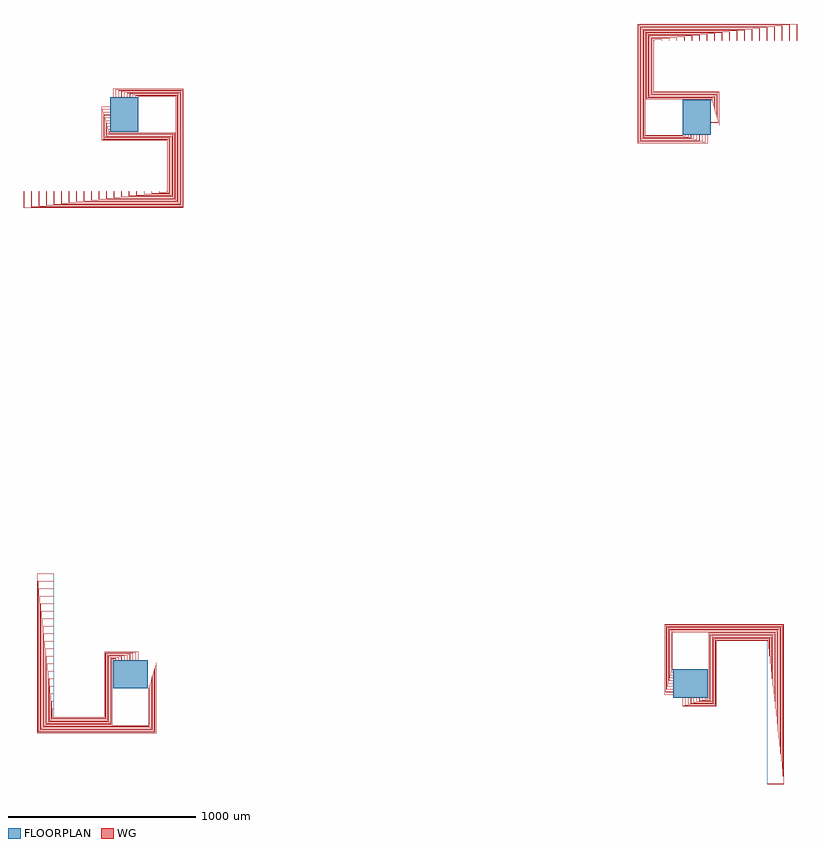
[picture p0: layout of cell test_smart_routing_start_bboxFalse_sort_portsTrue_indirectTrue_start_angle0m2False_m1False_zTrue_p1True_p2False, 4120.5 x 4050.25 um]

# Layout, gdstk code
import gdstk
lib = gdstk.Library(unit=1e-6, precision=1e-09)
def R(c, l, rs):  # rectangles x0, y0, x1, y1
    for r in rs: c.add(gdstk.rectangle(r[:2], r[2:], *l))
def P(c, l, *ps):  # polygons
    for p in ps: c.add(gdstk.Polygon(p, *l))
WG = (1, 0)
FLOORPLAN = (10, 0)

test_smart_routing_start = lib.new_cell('test_smart_routing_start_bboxFalse_sort_portsTrue_indirectTrue_start_angle0m2False_m1False_zTrue_p1True_p2False')
P(test_smart_routing_start, WG, [(3100,2949.75),(3100,2949.95),(3144.8,2949.95),(3144.8,3130.05),(2795.55,3130.05),(2795.55,3404.2),(2799.95,3404.2),(2799.95,3400),(2799.75,3400),(2799.75,3404),(2795.75,3404),(2795.75,3130.25),(3145,3130.25),(3145,2949.75)],
  [(3100,2950.05),(3100,2950.25),(3144.5,2950.25),(3144.5,3129.75),(2795.25,3129.75),(2795.25,3404.5),(2800.25,3404.5),(2800.25,3400),(2800.05,3400),(2800.05,3404.3),(2795.45,3404.3),(2795.45,3129.95),(3144.7,3129.95),(3144.7,2950.05)],
  [(3100,2964.75),(3100,2964.95),(3140.3,2964.95),(3140.3,3125.55),(2791.05,3125.55),(2791.05,3408.7),(2839.95,3408.7),(2839.95,3400),(2839.75,3400),(2839.75,3408.5),(2791.25,3408.5),(2791.25,3125.75),(3140.5,3125.75),(3140.5,2964.75)],
  [(3100,2965.05),(3100,2965.25),(3140,2965.25),(3140,3125.25),(2790.75,3125.25),(2790.75,3409),(2840.25,3409),(2840.25,3400),(2840.05,3400),(2840.05,3408.8),(2790.95,3408.8),(2790.95,3125.45),(3140.2,3125.45),(3140.2,2965.05)],
  [(3100,2979.75),(3100,2979.95),(3135.8,2979.95),(3135.8,3121.05),(2786.55,3121.05),(2786.55,3413.2),(2879.95,3413.2),(2879.95,3400),(2879.75,3400),(2879.75,3413),(2786.75,3413),(2786.75,3121.25),(3136,3121.25),(3136,2979.75)],
  [(3100,2980.05),(3100,2980.25),(3135.5,2980.25),(3135.5,3120.75),(2786.25,3120.75),(2786.25,3413.5),(2880.25,3413.5),(2880.25,3400),(2880.05,3400),(2880.05,3413.3),(2786.45,3413.3),(2786.45,3120.95),(3135.7,3120.95),(3135.7,2980.05)],
  [(3100,2994.75),(3100,2994.95),(3131.3,2994.95),(3131.3,3116.55),(2782.05,3116.55),(2782.05,3417.7),(2919.95,3417.7),(2919.95,3400),(2919.75,3400),(2919.75,3417.5),(2782.25,3417.5),(2782.25,3116.75),(3131.5,3116.75),(3131.5,2994.75)],
  [(3100,2995.05),(3100,2995.25),(3131,2995.25),(3131,3116.25),(2781.75,3116.25),(2781.75,3418),(2920.25,3418),(2920.25,3400),(2920.05,3400),(2920.05,3417.8),(2781.95,3417.8),(2781.95,3116.45),(3131.2,3116.45),(3131.2,2995.05)],
  [(3100,3009.75),(3100,3009.95),(3126.8,3009.95),(3126.8,3112.05),(2777.55,3112.05),(2777.55,3422.2),(2959.95,3422.2),(2959.95,3400),(2959.75,3400),(2959.75,3422),(2777.75,3422),(2777.75,3112.25),(3127,3112.25),(3127,3009.75)],
  [(3100,3010.05),(3100,3010.25),(3126.5,3010.25),(3126.5,3111.75),(2777.25,3111.75),(2777.25,3422.5),(2960.25,3422.5),(2960.25,3400),(2960.05,3400),(2960.05,3422.3),(2777.45,3422.3),(2777.45,3111.95),(3126.7,3111.95),(3126.7,3010.05)],
  [(3100,3024.75),(3100,3024.95),(3122.3,3024.95),(3122.3,3107.55),(2773.05,3107.55),(2773.05,3426.7),(2999.95,3426.7),(2999.95,3400),(2999.75,3400),(2999.75,3426.5),(2773.25,3426.5),(2773.25,3107.75),(3122.5,3107.75),(3122.5,3024.75)],
  [(3100,3025.05),(3100,3025.25),(3122,3025.25),(3122,3107.25),(2772.75,3107.25),(2772.75,3427),(3000.25,3427),(3000.25,3400),(3000.05,3400),(3000.05,3426.8),(2772.95,3426.8),(2772.95,3107.45),(3122.2,3107.45),(3122.2,3025.05)],
  [(3100,3039.75),(3100,3039.95),(3117.8,3039.95),(3117.8,3103.05),(2768.55,3103.05),(2768.55,3431.2),(3039.95,3431.2),(3039.95,3400),(3039.75,3400),(3039.75,3431),(2768.75,3431),(2768.75,3103.25),(3118,3103.25),(3118,3039.75)],
  [(3100,3040.05),(3100,3040.25),(3117.5,3040.25),(3117.5,3102.75),(2768.25,3102.75),(2768.25,3431.5),(3040.25,3431.5),(3040.25,3400),(3040.05,3400),(3040.05,3431.3),(2768.45,3431.3),(2768.45,3102.95),(3117.7,3102.95),(3117.7,3040.05)],
  [(3100,3054.75),(3100,3054.95),(3113.3,3054.95),(3113.3,3098.55),(2764.05,3098.55),(2764.05,3435.7),(3079.95,3435.7),(3079.95,3400),(3079.75,3400),(3079.75,3435.5),(2764.25,3435.5),(2764.25,3098.75),(3113.5,3098.75),(3113.5,3054.75)],
  [(3100,3055.05),(3100,3055.25),(3113,3055.25),(3113,3098.25),(2763.75,3098.25),(2763.75,3436),(3080.25,3436),(3080.25,3400),(3080.05,3400),(3080.05,3435.8),(2763.95,3435.8),(2763.95,3098.45),(3113.2,3098.45),(3113.2,3055.05)],
  [(3100,3069.75),(3100,3069.95),(3108.8,3069.95),(3108.8,3094.05),(2759.55,3094.05),(2759.55,3440.2),(3119.95,3440.2),(3119.95,3400),(3119.75,3400),(3119.75,3440),(2759.75,3440),(2759.75,3094.25),(3109,3094.25),(3109,3069.75)],
  [(3100,3070.05),(3100,3070.25),(3108.5,3070.25),(3108.5,3093.75),(2759.25,3093.75),(2759.25,3440.5),(3120.25,3440.5),(3120.25,3400),(3120.05,3400),(3120.05,3440.3),(2759.45,3440.3),(2759.45,3093.95),(3108.7,3093.95),(3108.7,3070.05)],
  [(3100,3084.75),(3100,3084.95),(3104.3,3084.95),(3104.3,3089.55),(2755.05,3089.55),(2755.05,3444.7),(3159.95,3444.7),(3159.95,3400),(3159.75,3400),(3159.75,3444.5),(2755.25,3444.5),(2755.25,3089.75),(3104.5,3089.75),(3104.5,3084.75)],
  [(3100,3085.05),(3100,3085.25),(3104,3085.25),(3104,3089.25),(2754.75,3089.25),(2754.75,3445),(3160.25,3445),(3160.25,3400),(3160.05,3400),(3160.05,3444.8),(2754.95,3444.8),(2754.95,3089.45),(3104.2,3089.45),(3104.2,3085.05)],
  [(2750.55,2895.8),(2750.55,3449.2),(3199.95,3449.2),(3199.95,3400),(3199.75,3400),(3199.75,3449),(2750.75,3449),(2750.75,2896),(2949.75,2896),(2949.75,2900),(2949.95,2900),(2949.95,2895.8)],
  [(2750.25,2895.5),(2750.25,3449.5),(3200.25,3449.5),(3200.25,3400),(3200.05,3400),(3200.05,3449.3),(2750.45,3449.3),(2750.45,2895.7),(2950.05,2895.7),(2950.05,2900),(2950.25,2900),(2950.25,2895.5)],
  [(2746.05,2891.3),(2746.05,3453.7),(3239.95,3453.7),(3239.95,3400),(3239.75,3400),(3239.75,3453.5),(2746.25,3453.5),(2746.25,2891.5),(2964.75,2891.5),(2964.75,2900),(2964.95,2900),(2964.95,2891.3)],
  [(2745.75,2891),(2745.75,3454),(3240.25,3454),(3240.25,3400),(3240.05,3400),(3240.05,3453.8),(2745.95,3453.8),(2745.95,2891.2),(2965.05,2891.2),(2965.05,2900),(2965.25,2900),(2965.25,2891)],
  [(2741.55,2886.8),(2741.55,3458.2),(3279.95,3458.2),(3279.95,3400),(3279.75,3400),(3279.75,3458),(2741.75,3458),(2741.75,2887),(2979.75,2887),(2979.75,2900),(2979.95,2900),(2979.95,2886.8)],
  [(2741.25,2886.5),(2741.25,3458.5),(3280.25,3458.5),(3280.25,3400),(3280.05,3400),(3280.05,3458.3),(2741.45,3458.3),(2741.45,2886.7),(2980.05,2886.7),(2980.05,2900),(2980.25,2900),(2980.25,2886.5)],
  [(2737.05,2882.3),(2737.05,3462.7),(3319.95,3462.7),(3319.95,3400),(3319.75,3400),(3319.75,3462.5),(2737.25,3462.5),(2737.25,2882.5),(2994.75,2882.5),(2994.75,2900),(2994.95,2900),(2994.95,2882.3)],
  [(2736.75,2882),(2736.75,3463),(3320.25,3463),(3320.25,3400),(3320.05,3400),(3320.05,3462.8),(2736.95,3462.8),(2736.95,2882.2),(2995.05,2882.2),(2995.05,2900),(2995.25,2900),(2995.25,2882)],
  [(2732.55,2877.8),(2732.55,3467.2),(3359.95,3467.2),(3359.95,3400),(3359.75,3400),(3359.75,3467),(2732.75,3467),(2732.75,2878),(3009.75,2878),(3009.75,2900),(3009.95,2900),(3009.95,2877.8)],
  [(2732.25,2877.5),(2732.25,3467.5),(3360.25,3467.5),(3360.25,3400),(3360.05,3400),(3360.05,3467.3),(2732.45,3467.3),(2732.45,2877.7),(3010.05,2877.7),(3010.05,2900),(3010.25,2900),(3010.25,2877.5)],
  [(2728.05,2873.3),(2728.05,3471.7),(3399.95,3471.7),(3399.95,3400),(3399.75,3400),(3399.75,3471.5),(2728.25,3471.5),(2728.25,2873.5),(3024.75,2873.5),(3024.75,2900),(3024.95,2900),(3024.95,2873.3)],
  [(2727.75,2873),(2727.75,3472),(3400.25,3472),(3400.25,3400),(3400.05,3400),(3400.05,3471.8),(2727.95,3471.8),(2727.95,2873.2),(3025.05,2873.2),(3025.05,2900),(3025.25,2900),(3025.25,2873)],
  [(2723.55,2868.8),(2723.55,3476.2),(3439.95,3476.2),(3439.95,3400),(3439.75,3400),(3439.75,3476),(2723.75,3476),(2723.75,2869),(3039.75,2869),(3039.75,2900),(3039.95,2900),(3039.95,2868.8)],
  [(2723.25,2868.5),(2723.25,3476.5),(3440.25,3476.5),(3440.25,3400),(3440.05,3400),(3440.05,3476.3),(2723.45,3476.3),(2723.45,2868.7),(3040.05,2868.7),(3040.05,2900),(3040.25,2900),(3040.25,2868.5)],
  [(2719.05,2864.3),(2719.05,3480.7),(3479.95,3480.7),(3479.95,3400),(3479.75,3400),(3479.75,3480.5),(2719.25,3480.5),(2719.25,2864.5),(3054.75,2864.5),(3054.75,2900),(3054.95,2900),(3054.95,2864.3)],
  [(2718.75,2864),(2718.75,3481),(3480.25,3481),(3480.25,3400),(3480.05,3400),(3480.05,3480.8),(2718.95,3480.8),(2718.95,2864.2),(3055.05,2864.2),(3055.05,2900),(3055.25,2900),(3055.25,2864)],
  [(2714.55,2859.8),(2714.55,3485.2),(3519.95,3485.2),(3519.95,3400),(3519.75,3400),(3519.75,3485),(2714.75,3485),(2714.75,2860),(3069.75,2860),(3069.75,2900),(3069.95,2900),(3069.95,2859.8)],
  [(2714.25,2859.5),(2714.25,3485.5),(3520.25,3485.5),(3520.25,3400),(3520.05,3400),(3520.05,3485.3),(2714.45,3485.3),(2714.45,2859.7),(3070.05,2859.7),(3070.05,2900),(3070.25,2900),(3070.25,2859.5)],
  [(2710.05,2855.3),(2710.05,3489.7),(3559.95,3489.7),(3559.95,3400),(3559.75,3400),(3559.75,3489.5),(2710.25,3489.5),(2710.25,2855.5),(3084.75,2855.5),(3084.75,2900),(3084.95,2900),(3084.95,2855.3)],
  [(2709.75,2855),(2709.75,3490),(3560.25,3490),(3560.25,3400),(3560.05,3400),(3560.05,3489.8),(2709.95,3489.8),(2709.95,2855.2),(3085.05,2855.2),(3085.05,2900),(3085.25,2900),(3085.25,2855)],
  [(199.75,2595.5),(199.75,2600),(199.95,2600),(199.95,2595.7),(204.55,2595.7),(204.55,2870.05),(-144.7,2870.05),(-144.7,3049.95),(-100,3049.95),(-100,3049.75),(-144.5,3049.75),(-144.5,2870.25),(204.75,2870.25),(204.75,2595.5)],
  [(200.05,2595.8),(200.05,2600),(200.25,2600),(200.25,2596),(204.25,2596),(204.25,2869.75),(-145,2869.75),(-145,3050.25),(-100,3050.25),(-100,3050.05),(-144.8,3050.05),(-144.8,2869.95),(204.45,2869.95),(204.45,2595.8)],
  [(159.75,2591),(159.75,2600),(159.95,2600),(159.95,2591.2),(209.05,2591.2),(209.05,2874.55),(-140.2,2874.55),(-140.2,3034.95),(-100,3034.95),(-100,3034.75),(-140,3034.75),(-140,2874.75),(209.25,2874.75),(209.25,2591)],
  [(160.05,2591.3),(160.05,2600),(160.25,2600),(160.25,2591.5),(208.75,2591.5),(208.75,2874.25),(-140.5,2874.25),(-140.5,3035.25),(-100,3035.25),(-100,3035.05),(-140.3,3035.05),(-140.3,2874.45),(208.95,2874.45),(208.95,2591.3)],
  [(119.75,2586.5),(119.75,2600),(119.95,2600),(119.95,2586.7),(213.55,2586.7),(213.55,2879.05),(-135.7,2879.05),(-135.7,3019.95),(-100,3019.95),(-100,3019.75),(-135.5,3019.75),(-135.5,2879.25),(213.75,2879.25),(213.75,2586.5)],
  [(120.05,2586.8),(120.05,2600),(120.25,2600),(120.25,2587),(213.25,2587),(213.25,2878.75),(-136,2878.75),(-136,3020.25),(-100,3020.25),(-100,3020.05),(-135.8,3020.05),(-135.8,2878.95),(213.45,2878.95),(213.45,2586.8)],
  [(79.75,2582),(79.75,2600),(79.95,2600),(79.95,2582.2),(218.05,2582.2),(218.05,2883.55),(-131.2,2883.55),(-131.2,3004.95),(-100,3004.95),(-100,3004.75),(-131,3004.75),(-131,2883.75),(218.25,2883.75),(218.25,2582)],
  [(80.05,2582.3),(80.05,2600),(80.25,2600),(80.25,2582.5),(217.75,2582.5),(217.75,2883.25),(-131.5,2883.25),(-131.5,3005.25),(-100,3005.25),(-100,3005.05),(-131.3,3005.05),(-131.3,2883.45),(217.95,2883.45),(217.95,2582.3)],
  [(39.75,2577.5),(39.75,2600),(39.95,2600),(39.95,2577.7),(222.55,2577.7),(222.55,2888.05),(-126.7,2888.05),(-126.7,2989.95),(-100,2989.95),(-100,2989.75),(-126.5,2989.75),(-126.5,2888.25),(222.75,2888.25),(222.75,2577.5)],
  [(40.05,2577.8),(40.05,2600),(40.25,2600),(40.25,2578),(222.25,2578),(222.25,2887.75),(-127,2887.75),(-127,2990.25),(-100,2990.25),(-100,2990.05),(-126.8,2990.05),(-126.8,2887.95),(222.45,2887.95),(222.45,2577.8)],
  [(-0.25,2573),(-0.25,2600),(-0.05,2600),(-0.05,2573.2),(227.05,2573.2),(227.05,2892.55),(-122.2,2892.55),(-122.2,2974.95),(-100,2974.95),(-100,2974.75),(-122,2974.75),(-122,2892.75),(227.25,2892.75),(227.25,2573)],
  [(0.05,2573.3),(0.05,2600),(0.25,2600),(0.25,2573.5),(226.75,2573.5),(226.75,2892.25),(-122.5,2892.25),(-122.5,2975.25),(-100,2975.25),(-100,2975.05),(-122.3,2975.05),(-122.3,2892.45),(226.95,2892.45),(226.95,2573.3)],
  [(-40.25,2568.5),(-40.25,2600),(-40.05,2600),(-40.05,2568.7),(231.55,2568.7),(231.55,2897.05),(-117.7,2897.05),(-117.7,2959.95),(-100,2959.95),(-100,2959.75),(-117.5,2959.75),(-117.5,2897.25),(231.75,2897.25),(231.75,2568.5)],
  [(-39.95,2568.8),(-39.95,2600),(-39.75,2600),(-39.75,2569),(231.25,2569),(231.25,2896.75),(-118,2896.75),(-118,2960.25),(-100,2960.25),(-100,2960.05),(-117.8,2960.05),(-117.8,2896.95),(231.45,2896.95),(231.45,2568.8)],
  [(-80.25,2564),(-80.25,2600),(-80.05,2600),(-80.05,2564.2),(236.05,2564.2),(236.05,2901.55),(-113.2,2901.55),(-113.2,2944.95),(-100,2944.95),(-100,2944.75),(-113,2944.75),(-113,2901.75),(236.25,2901.75),(236.25,2564)],
  [(-79.95,2564.3),(-79.95,2600),(-79.75,2600),(-79.75,2564.5),(235.75,2564.5),(235.75,2901.25),(-113.5,2901.25),(-113.5,2945.25),(-100,2945.25),(-100,2945.05),(-113.3,2945.05),(-113.3,2901.45),(235.95,2901.45),(235.95,2564.3)],
  [(-120.25,2559.5),(-120.25,2600),(-120.05,2600),(-120.05,2559.7),(240.55,2559.7),(240.55,2906.05),(-108.7,2906.05),(-108.7,2929.95),(-100,2929.95),(-100,2929.75),(-108.5,2929.75),(-108.5,2906.25),(240.75,2906.25),(240.75,2559.5)],
  [(-119.95,2559.8),(-119.95,2600),(-119.75,2600),(-119.75,2560),(240.25,2560),(240.25,2905.75),(-109,2905.75),(-109,2930.25),(-100,2930.25),(-100,2930.05),(-108.8,2930.05),(-108.8,2905.95),(240.45,2905.95),(240.45,2559.8)],
  [(-160.25,2555),(-160.25,2600),(-160.05,2600),(-160.05,2555.2),(245.05,2555.2),(245.05,2910.55),(-104.2,2910.55),(-104.2,2914.95),(-100,2914.95),(-100,2914.75),(-104,2914.75),(-104,2910.75),(245.25,2910.75),(245.25,2555)],
  [(-159.95,2555.3),(-159.95,2600),(-159.75,2600),(-159.75,2555.5),(244.75,2555.5),(244.75,2910.25),(-104.5,2910.25),(-104.5,2915.25),(-100,2915.25),(-100,2915.05),(-104.3,2915.05),(-104.3,2910.45),(244.95,2910.45),(244.95,2555.3)],
  [(-199.95,2550.8),(-199.95,2600),(-199.75,2600),(-199.75,2551),(249.25,2551),(249.25,3104),(50.25,3104),(50.25,3100),(50.05,3100),(50.05,3104.2),(249.45,3104.2),(249.45,2550.8)],
  [(-200.25,2550.5),(-200.25,2600),(-200.05,2600),(-200.05,2550.7),(249.55,2550.7),(249.55,3104.3),(49.95,3104.3),(49.95,3100),(49.75,3100),(49.75,3104.5),(249.75,3104.5),(249.75,2550.5)],
  [(-239.95,2546.3),(-239.95,2600),(-239.75,2600),(-239.75,2546.5),(253.75,2546.5),(253.75,3108.5),(35.25,3108.5),(35.25,3100),(35.05,3100),(35.05,3108.7),(253.95,3108.7),(253.95,2546.3)],
  [(-240.25,2546),(-240.25,2600),(-240.05,2600),(-240.05,2546.2),(254.05,2546.2),(254.05,3108.8),(34.95,3108.8),(34.95,3100),(34.75,3100),(34.75,3109),(254.25,3109),(254.25,2546)],
  [(-279.95,2541.8),(-279.95,2600),(-279.75,2600),(-279.75,2542),(258.25,2542),(258.25,3113),(20.25,3113),(20.25,3100),(20.05,3100),(20.05,3113.2),(258.45,3113.2),(258.45,2541.8)],
  [(-280.25,2541.5),(-280.25,2600),(-280.05,2600),(-280.05,2541.7),(258.55,2541.7),(258.55,3113.3),(19.95,3113.3),(19.95,3100),(19.75,3100),(19.75,3113.5),(258.75,3113.5),(258.75,2541.5)],
  [(-319.95,2537.3),(-319.95,2600),(-319.75,2600),(-319.75,2537.5),(262.75,2537.5),(262.75,3117.5),(5.25,3117.5),(5.25,3100),(5.05,3100),(5.05,3117.7),(262.95,3117.7),(262.95,2537.3)],
  [(-320.25,2537),(-320.25,2600),(-320.05,2600),(-320.05,2537.2),(263.05,2537.2),(263.05,3117.8),(4.95,3117.8),(4.95,3100),(4.75,3100),(4.75,3118),(263.25,3118),(263.25,2537)],
  [(-359.95,2532.8),(-359.95,2600),(-359.75,2600),(-359.75,2533),(267.25,2533),(267.25,3122),(-9.75,3122),(-9.75,3100),(-9.95,3100),(-9.95,3122.2),(267.45,3122.2),(267.45,2532.8)],
  [(-360.25,2532.5),(-360.25,2600),(-360.05,2600),(-360.05,2532.7),(267.55,2532.7),(267.55,3122.3),(-10.05,3122.3),(-10.05,3100),(-10.25,3100),(-10.25,3122.5),(267.75,3122.5),(267.75,2532.5)],
  [(-399.95,2528.3),(-399.95,2600),(-399.75,2600),(-399.75,2528.5),(271.75,2528.5),(271.75,3126.5),(-24.75,3126.5),(-24.75,3100),(-24.95,3100),(-24.95,3126.7),(271.95,3126.7),(271.95,2528.3)],
  [(-400.25,2528),(-400.25,2600),(-400.05,2600),(-400.05,2528.2),(272.05,2528.2),(272.05,3126.8),(-25.05,3126.8),(-25.05,3100),(-25.25,3100),(-25.25,3127),(272.25,3127),(272.25,2528)],
  [(-439.95,2523.8),(-439.95,2600),(-439.75,2600),(-439.75,2524),(276.25,2524),(276.25,3131),(-39.75,3131),(-39.75,3100),(-39.95,3100),(-39.95,3131.2),(276.45,3131.2),(276.45,2523.8)],
  [(-440.25,2523.5),(-440.25,2600),(-440.05,2600),(-440.05,2523.7),(276.55,2523.7),(276.55,3131.3),(-40.05,3131.3),(-40.05,3100),(-40.25,3100),(-40.25,3131.5),(276.75,3131.5),(276.75,2523.5)],
  [(-479.95,2519.3),(-479.95,2600),(-479.75,2600),(-479.75,2519.5),(280.75,2519.5),(280.75,3135.5),(-54.75,3135.5),(-54.75,3100),(-54.95,3100),(-54.95,3135.7),(280.95,3135.7),(280.95,2519.3)],
  [(-480.25,2519),(-480.25,2600),(-480.05,2600),(-480.05,2519.2),(281.05,2519.2),(281.05,3135.8),(-55.05,3135.8),(-55.05,3100),(-55.25,3100),(-55.25,3136),(281.25,3136),(281.25,2519)],
  [(-519.95,2514.8),(-519.95,2600),(-519.75,2600),(-519.75,2515),(285.25,2515),(285.25,3140),(-69.75,3140),(-69.75,3100),(-69.95,3100),(-69.95,3140.2),(285.45,3140.2),(285.45,2514.8)],
  [(-520.25,2514.5),(-520.25,2600),(-520.05,2600),(-520.05,2514.7),(285.55,2514.7),(285.55,3140.3),(-70.05,3140.3),(-70.05,3100),(-70.25,3100),(-70.25,3140.5),(285.75,3140.5),(285.75,2514.5)],
  [(-559.95,2510.3),(-559.95,2600),(-559.75,2600),(-559.75,2510.5),(289.75,2510.5),(289.75,3144.5),(-84.75,3144.5),(-84.75,3100),(-84.95,3100),(-84.95,3144.7),(289.95,3144.7),(289.95,2510.3)],
  [(-560.25,2510),(-560.25,2600),(-560.05,2600),(-560.05,2510.2),(290.05,2510.2),(290.05,3144.8),(-85.05,3144.8),(-85.05,3100),(-85.25,3100),(-85.25,3145),(290.25,3145),(290.25,2510)],
  [(-404.5,-204.75),(-404.5,-199.75),(-400,-199.75),(-400,-199.95),(-404.3,-199.95),(-404.3,-204.55),(-129.95,-204.55),(-129.95,144.7),(49.95,144.7),(49.95,100),(49.75,100),(49.75,144.5),(-129.75,144.5),(-129.75,-204.75)],
  [(-404.2,-204.45),(-404.2,-200.05),(-400,-200.05),(-400,-200.25),(-404,-200.25),(-404,-204.25),(-130.25,-204.25),(-130.25,145),(50.25,145),(50.25,100),(50.05,100),(50.05,144.8),(-130.05,144.8),(-130.05,-204.45)],
  [(-409,-209.25),(-409,-159.75),(-400,-159.75),(-400,-159.95),(-408.8,-159.95),(-408.8,-209.05),(-125.45,-209.05),(-125.45,140.2),(34.95,140.2),(34.95,100),(34.75,100),(34.75,140),(-125.25,140),(-125.25,-209.25)],
  [(-408.7,-208.95),(-408.7,-160.05),(-400,-160.05),(-400,-160.25),(-408.5,-160.25),(-408.5,-208.75),(-125.75,-208.75),(-125.75,140.5),(35.25,140.5),(35.25,100),(35.05,100),(35.05,140.3),(-125.55,140.3),(-125.55,-208.95)],
  [(-413.5,-213.75),(-413.5,-119.75),(-400,-119.75),(-400,-119.95),(-413.3,-119.95),(-413.3,-213.55),(-120.95,-213.55),(-120.95,135.7),(19.95,135.7),(19.95,100),(19.75,100),(19.75,135.5),(-120.75,135.5),(-120.75,-213.75)],
  [(-413.2,-213.45),(-413.2,-120.05),(-400,-120.05),(-400,-120.25),(-413,-120.25),(-413,-213.25),(-121.25,-213.25),(-121.25,136),(20.25,136),(20.25,100),(20.05,100),(20.05,135.8),(-121.05,135.8),(-121.05,-213.45)],
  [(-418,-218.25),(-418,-79.75),(-400,-79.75),(-400,-79.95),(-417.8,-79.95),(-417.8,-218.05),(-116.45,-218.05),(-116.45,131.2),(4.95,131.2),(4.95,100),(4.75,100),(4.75,131),(-116.25,131),(-116.25,-218.25)],
  [(-417.7,-217.95),(-417.7,-80.05),(-400,-80.05),(-400,-80.25),(-417.5,-80.25),(-417.5,-217.75),(-116.75,-217.75),(-116.75,131.5),(5.25,131.5),(5.25,100),(5.05,100),(5.05,131.3),(-116.55,131.3),(-116.55,-217.95)],
  [(-422.5,-222.75),(-422.5,-39.75),(-400,-39.75),(-400,-39.95),(-422.3,-39.95),(-422.3,-222.55),(-111.95,-222.55),(-111.95,126.7),(-10.05,126.7),(-10.05,100),(-10.25,100),(-10.25,126.5),(-111.75,126.5),(-111.75,-222.75)],
  [(-422.2,-222.45),(-422.2,-40.05),(-400,-40.05),(-400,-40.25),(-422,-40.25),(-422,-222.25),(-112.25,-222.25),(-112.25,127),(-9.75,127),(-9.75,100),(-9.95,100),(-9.95,126.8),(-112.05,126.8),(-112.05,-222.45)],
  [(-427,-227.25),(-427,0.25),(-400,0.25),(-400,0.05),(-426.8,0.05),(-426.8,-227.05),(-107.45,-227.05),(-107.45,122.2),(-25.05,122.2),(-25.05,100),(-25.25,100),(-25.25,122),(-107.25,122),(-107.25,-227.25)],
  [(-426.7,-226.95),(-426.7,-0.05),(-400,-0.05),(-400,-0.25),(-426.5,-0.25),(-426.5,-226.75),(-107.75,-226.75),(-107.75,122.5),(-24.75,122.5),(-24.75,100),(-24.95,100),(-24.95,122.3),(-107.55,122.3),(-107.55,-226.95)],
  [(-431.5,-231.75),(-431.5,40.25),(-400,40.25),(-400,40.05),(-431.3,40.05),(-431.3,-231.55),(-102.95,-231.55),(-102.95,117.7),(-40.05,117.7),(-40.05,100),(-40.25,100),(-40.25,117.5),(-102.75,117.5),(-102.75,-231.75)],
  [(-431.2,-231.45),(-431.2,39.95),(-400,39.95),(-400,39.75),(-431,39.75),(-431,-231.25),(-103.25,-231.25),(-103.25,118),(-39.75,118),(-39.75,100),(-39.95,100),(-39.95,117.8),(-103.05,117.8),(-103.05,-231.45)],
  [(-436,-236.25),(-436,80.25),(-400,80.25),(-400,80.05),(-435.8,80.05),(-435.8,-236.05),(-98.45,-236.05),(-98.45,113.2),(-55.05,113.2),(-55.05,100),(-55.25,100),(-55.25,113),(-98.25,113),(-98.25,-236.25)],
  [(-435.7,-235.95),(-435.7,79.95),(-400,79.95),(-400,79.75),(-435.5,79.75),(-435.5,-235.75),(-98.75,-235.75),(-98.75,113.5),(-54.75,113.5),(-54.75,100),(-54.95,100),(-54.95,113.3),(-98.55,113.3),(-98.55,-235.95)],
  [(-440.2,-240.45),(-440.2,119.95),(-400,119.95),(-400,119.75),(-440,119.75),(-440,-240.25),(-94.25,-240.25),(-94.25,109),(-69.75,109),(-69.75,100),(-69.95,100),(-69.95,108.8),(-94.05,108.8),(-94.05,-240.45)],
  [(-440.5,-240.75),(-440.5,120.25),(-400,120.25),(-400,120.05),(-440.3,120.05),(-440.3,-240.55),(-93.95,-240.55),(-93.95,108.7),(-70.05,108.7),(-70.05,100),(-70.25,100),(-70.25,108.5),(-93.75,108.5),(-93.75,-240.75)],
  [(-444.7,-244.95),(-444.7,159.95),(-400,159.95),(-400,159.75),(-444.5,159.75),(-444.5,-244.75),(-89.75,-244.75),(-89.75,104.5),(-84.75,104.5),(-84.75,100),(-84.95,100),(-84.95,104.3),(-89.55,104.3),(-89.55,-244.95)],
  [(-445,-245.25),(-445,160.25),(-400,160.25),(-400,160.05),(-444.8,160.05),(-444.8,-245.05),(-89.45,-245.05),(-89.45,104.2),(-85.05,104.2),(-85.05,100),(-85.25,100),(-85.25,104),(-89.25,104),(-89.25,-245.25)],
  [(-449.2,-249.45),(-449.2,199.95),(-400,199.95),(-400,199.75),(-449,199.75),(-449,-249.25),(104,-249.25),(104,-50.25),(100,-50.25),(100,-50.05),(104.2,-50.05),(104.2,-249.45)],
  [(-449.5,-249.75),(-449.5,200.25),(-400,200.25),(-400,200.05),(-449.3,200.05),(-449.3,-249.55),(104.3,-249.55),(104.3,-49.95),(100,-49.95),(100,-49.75),(104.5,-49.75),(104.5,-249.75)],
  [(-453.7,-253.95),(-453.7,239.95),(-400,239.95),(-400,239.75),(-453.5,239.75),(-453.5,-253.75),(108.5,-253.75),(108.5,-35.25),(100,-35.25),(100,-35.05),(108.7,-35.05),(108.7,-253.95)],
  [(-454,-254.25),(-454,240.25),(-400,240.25),(-400,240.05),(-453.8,240.05),(-453.8,-254.05),(108.8,-254.05),(108.8,-34.95),(100,-34.95),(100,-34.75),(109,-34.75),(109,-254.25)],
  [(-458.2,-258.45),(-458.2,279.95),(-400,279.95),(-400,279.75),(-458,279.75),(-458,-258.25),(113,-258.25),(113,-20.25),(100,-20.25),(100,-20.05),(113.2,-20.05),(113.2,-258.45)],
  [(-458.5,-258.75),(-458.5,280.25),(-400,280.25),(-400,280.05),(-458.3,280.05),(-458.3,-258.55),(113.3,-258.55),(113.3,-19.95),(100,-19.95),(100,-19.75),(113.5,-19.75),(113.5,-258.75)],
  [(-462.7,-262.95),(-462.7,319.95),(-400,319.95),(-400,319.75),(-462.5,319.75),(-462.5,-262.75),(117.5,-262.75),(117.5,-5.25),(100,-5.25),(100,-5.05),(117.7,-5.05),(117.7,-262.95)],
  [(-463,-263.25),(-463,320.25),(-400,320.25),(-400,320.05),(-462.8,320.05),(-462.8,-263.05),(117.8,-263.05),(117.8,-4.95),(100,-4.95),(100,-4.75),(118,-4.75),(118,-263.25)],
  [(-467.2,-267.45),(-467.2,359.95),(-400,359.95),(-400,359.75),(-467,359.75),(-467,-267.25),(122,-267.25),(122,9.75),(100,9.75),(100,9.95),(122.2,9.95),(122.2,-267.45)],
  [(-467.5,-267.75),(-467.5,360.25),(-400,360.25),(-400,360.05),(-467.3,360.05),(-467.3,-267.55),(122.3,-267.55),(122.3,10.05),(100,10.05),(100,10.25),(122.5,10.25),(122.5,-267.75)],
  [(-471.7,-271.95),(-471.7,399.95),(-400,399.95),(-400,399.75),(-471.5,399.75),(-471.5,-271.75),(126.5,-271.75),(126.5,24.75),(100,24.75),(100,24.95),(126.7,24.95),(126.7,-271.95)],
  [(-472,-272.25),(-472,400.25),(-400,400.25),(-400,400.05),(-471.8,400.05),(-471.8,-272.05),(126.8,-272.05),(126.8,25.05),(100,25.05),(100,25.25),(127,25.25),(127,-272.25)],
  [(-476.2,-276.45),(-476.2,439.95),(-400,439.95),(-400,439.75),(-476,439.75),(-476,-276.25),(131,-276.25),(131,39.75),(100,39.75),(100,39.95),(131.2,39.95),(131.2,-276.45)],
  [(-476.5,-276.75),(-476.5,440.25),(-400,440.25),(-400,440.05),(-476.3,440.05),(-476.3,-276.55),(131.3,-276.55),(131.3,40.05),(100,40.05),(100,40.25),(131.5,40.25),(131.5,-276.75)],
  [(-480.7,-280.95),(-480.7,479.95),(-400,479.95),(-400,479.75),(-480.5,479.75),(-480.5,-280.75),(135.5,-280.75),(135.5,54.75),(100,54.75),(100,54.95),(135.7,54.95),(135.7,-280.95)],
  [(-481,-281.25),(-481,480.25),(-400,480.25),(-400,480.05),(-480.8,480.05),(-480.8,-281.05),(135.8,-281.05),(135.8,55.05),(100,55.05),(100,55.25),(136,55.25),(136,-281.25)],
  [(-485.2,-285.45),(-485.2,519.95),(-400,519.95),(-400,519.75),(-485,519.75),(-485,-285.25),(140,-285.25),(140,69.75),(100,69.75),(100,69.95),(140.2,69.95),(140.2,-285.45)],
  [(-485.5,-285.75),(-485.5,520.25),(-400,520.25),(-400,520.05),(-485.3,520.05),(-485.3,-285.55),(140.3,-285.55),(140.3,70.05),(100,70.05),(100,70.25),(140.5,70.25),(140.5,-285.75)],
  [(-489.7,-289.95),(-489.7,559.95),(-400,559.95),(-400,559.75),(-489.5,559.75),(-489.5,-289.75),(144.5,-289.75),(144.5,84.75),(100,84.75),(100,84.95),(144.7,84.95),(144.7,-289.95)],
  [(-490,-290.25),(-490,560.25),(-400,560.25),(-400,560.05),(-489.8,560.05),(-489.8,-290.05),(144.8,-290.05),(144.8,85.05),(100,85.05),(100,85.25),(145,85.25),(145,-290.25)],
  [(2949.75,-145),(2949.75,-100),(2949.95,-100),(2949.95,-144.8),(3130.05,-144.8),(3130.05,204.45),(3404.2,204.45),(3404.2,200.05),(3400,200.05),(3400,200.25),(3404,200.25),(3404,204.25),(3130.25,204.25),(3130.25,-145)],
  [(2950.05,-144.7),(2950.05,-100),(2950.25,-100),(2950.25,-144.5),(3129.75,-144.5),(3129.75,204.75),(3404.5,204.75),(3404.5,199.75),(3400,199.75),(3400,199.95),(3404.3,199.95),(3404.3,204.55),(3129.95,204.55),(3129.95,-144.7)],
  [(2964.75,-140.5),(2964.75,-100),(2964.95,-100),(2964.95,-140.3),(3125.55,-140.3),(3125.55,208.95),(3408.7,208.95),(3408.7,160.05),(3400,160.05),(3400,160.25),(3408.5,160.25),(3408.5,208.75),(3125.75,208.75),(3125.75,-140.5)],
  [(2965.05,-140.2),(2965.05,-100),(2965.25,-100),(2965.25,-140),(3125.25,-140),(3125.25,209.25),(3409,209.25),(3409,159.75),(3400,159.75),(3400,159.95),(3408.8,159.95),(3408.8,209.05),(3125.45,209.05),(3125.45,-140.2)],
  [(2979.75,-136),(2979.75,-100),(2979.95,-100),(2979.95,-135.8),(3121.05,-135.8),(3121.05,213.45),(3413.2,213.45),(3413.2,120.05),(3400,120.05),(3400,120.25),(3413,120.25),(3413,213.25),(3121.25,213.25),(3121.25,-136)],
  [(2980.05,-135.7),(2980.05,-100),(2980.25,-100),(2980.25,-135.5),(3120.75,-135.5),(3120.75,213.75),(3413.5,213.75),(3413.5,119.75),(3400,119.75),(3400,119.95),(3413.3,119.95),(3413.3,213.55),(3120.95,213.55),(3120.95,-135.7)],
  [(2994.75,-131.5),(2994.75,-100),(2994.95,-100),(2994.95,-131.3),(3116.55,-131.3),(3116.55,217.95),(3417.7,217.95),(3417.7,80.05),(3400,80.05),(3400,80.25),(3417.5,80.25),(3417.5,217.75),(3116.75,217.75),(3116.75,-131.5)],
  [(2995.05,-131.2),(2995.05,-100),(2995.25,-100),(2995.25,-131),(3116.25,-131),(3116.25,218.25),(3418,218.25),(3418,79.75),(3400,79.75),(3400,79.95),(3417.8,79.95),(3417.8,218.05),(3116.45,218.05),(3116.45,-131.2)],
  [(3009.75,-127),(3009.75,-100),(3009.95,-100),(3009.95,-126.8),(3112.05,-126.8),(3112.05,222.45),(3422.2,222.45),(3422.2,40.05),(3400,40.05),(3400,40.25),(3422,40.25),(3422,222.25),(3112.25,222.25),(3112.25,-127)],
  [(3010.05,-126.7),(3010.05,-100),(3010.25,-100),(3010.25,-126.5),(3111.75,-126.5),(3111.75,222.75),(3422.5,222.75),(3422.5,39.75),(3400,39.75),(3400,39.95),(3422.3,39.95),(3422.3,222.55),(3111.95,222.55),(3111.95,-126.7)],
  [(3024.75,-122.5),(3024.75,-100),(3024.95,-100),(3024.95,-122.3),(3107.55,-122.3),(3107.55,226.95),(3426.7,226.95),(3426.7,0.05),(3400,0.05),(3400,0.25),(3426.5,0.25),(3426.5,226.75),(3107.75,226.75),(3107.75,-122.5)],
  [(3025.05,-122.2),(3025.05,-100),(3025.25,-100),(3025.25,-122),(3107.25,-122),(3107.25,227.25),(3427,227.25),(3427,-0.25),(3400,-0.25),(3400,-0.05),(3426.8,-0.05),(3426.8,227.05),(3107.45,227.05),(3107.45,-122.2)],
  [(3039.75,-118),(3039.75,-100),(3039.95,-100),(3039.95,-117.8),(3103.05,-117.8),(3103.05,231.45),(3431.2,231.45),(3431.2,-39.95),(3400,-39.95),(3400,-39.75),(3431,-39.75),(3431,231.25),(3103.25,231.25),(3103.25,-118)],
  [(3040.05,-117.7),(3040.05,-100),(3040.25,-100),(3040.25,-117.5),(3102.75,-117.5),(3102.75,231.75),(3431.5,231.75),(3431.5,-40.25),(3400,-40.25),(3400,-40.05),(3431.3,-40.05),(3431.3,231.55),(3102.95,231.55),(3102.95,-117.7)],
  [(3054.75,-113.5),(3054.75,-100),(3054.95,-100),(3054.95,-113.3),(3098.55,-113.3),(3098.55,235.95),(3435.7,235.95),(3435.7,-79.95),(3400,-79.95),(3400,-79.75),(3435.5,-79.75),(3435.5,235.75),(3098.75,235.75),(3098.75,-113.5)],
  [(3055.05,-113.2),(3055.05,-100),(3055.25,-100),(3055.25,-113),(3098.25,-113),(3098.25,236.25),(3436,236.25),(3436,-80.25),(3400,-80.25),(3400,-80.05),(3435.8,-80.05),(3435.8,236.05),(3098.45,236.05),(3098.45,-113.2)],
  [(3400,-119.95),(3400,-119.75),(3440,-119.75),(3440,240.25),(3094.25,240.25),(3094.25,-109),(3069.75,-109),(3069.75,-100),(3069.95,-100),(3069.95,-108.8),(3094.05,-108.8),(3094.05,240.45),(3440.2,240.45),(3440.2,-119.95)],
  [(3400,-120.25),(3400,-120.05),(3440.3,-120.05),(3440.3,240.55),(3093.95,240.55),(3093.95,-108.7),(3070.05,-108.7),(3070.05,-100),(3070.25,-100),(3070.25,-108.5),(3093.75,-108.5),(3093.75,240.75),(3440.5,240.75),(3440.5,-120.25)],
  [(3400,-159.95),(3400,-159.75),(3444.5,-159.75),(3444.5,244.75),(3089.75,244.75),(3089.75,-104.5),(3084.75,-104.5),(3084.75,-100),(3084.95,-100),(3084.95,-104.3),(3089.55,-104.3),(3089.55,244.95),(3444.7,244.95),(3444.7,-159.95)],
  [(3400,-160.25),(3400,-160.05),(3444.8,-160.05),(3444.8,245.05),(3089.45,245.05),(3089.45,-104.2),(3085.05,-104.2),(3085.05,-100),(3085.25,-100),(3085.25,-104),(3089.25,-104),(3089.25,245.25),(3445,245.25),(3445,-160.25)],
  [(3400,-199.95),(3400,-199.75),(3449,-199.75),(3449,249.25),(2896,249.25),(2896,50.25),(2900,50.25),(2900,50.05),(2895.8,50.05),(2895.8,249.45),(3449.2,249.45),(3449.2,-199.95)],
  [(3400,-200.25),(3400,-200.05),(3449.3,-200.05),(3449.3,249.55),(2895.7,249.55),(2895.7,49.95),(2900,49.95),(2900,49.75),(2895.5,49.75),(2895.5,249.75),(3449.5,249.75),(3449.5,-200.25)],
  [(3400,-239.95),(3400,-239.75),(3453.5,-239.75),(3453.5,253.75),(2891.5,253.75),(2891.5,35.25),(2900,35.25),(2900,35.05),(2891.3,35.05),(2891.3,253.95),(3453.7,253.95),(3453.7,-239.95)],
  [(3400,-240.25),(3400,-240.05),(3453.8,-240.05),(3453.8,254.05),(2891.2,254.05),(2891.2,34.95),(2900,34.95),(2900,34.75),(2891,34.75),(2891,254.25),(3454,254.25),(3454,-240.25)],
  [(3400,-279.95),(3400,-279.75),(3458,-279.75),(3458,258.25),(2887,258.25),(2887,20.25),(2900,20.25),(2900,20.05),(2886.8,20.05),(2886.8,258.45),(3458.2,258.45),(3458.2,-279.95)],
  [(3400,-280.25),(3400,-280.05),(3458.3,-280.05),(3458.3,258.55),(2886.7,258.55),(2886.7,19.95),(2900,19.95),(2900,19.75),(2886.5,19.75),(2886.5,258.75),(3458.5,258.75),(3458.5,-280.25)],
  [(3400,-319.95),(3400,-319.75),(3462.5,-319.75),(3462.5,262.75),(2882.5,262.75),(2882.5,5.25),(2900,5.25),(2900,5.05),(2882.3,5.05),(2882.3,262.95),(3462.7,262.95),(3462.7,-319.95)],
  [(3400,-320.25),(3400,-320.05),(3462.8,-320.05),(3462.8,263.05),(2882.2,263.05),(2882.2,4.95),(2900,4.95),(2900,4.75),(2882,4.75),(2882,263.25),(3463,263.25),(3463,-320.25)],
  [(3400,-359.95),(3400,-359.75),(3467,-359.75),(3467,267.25),(2878,267.25),(2878,-9.75),(2900,-9.75),(2900,-9.95),(2877.8,-9.95),(2877.8,267.45),(3467.2,267.45),(3467.2,-359.95)],
  [(3400,-360.25),(3400,-360.05),(3467.3,-360.05),(3467.3,267.55),(2877.7,267.55),(2877.7,-10.05),(2900,-10.05),(2900,-10.25),(2877.5,-10.25),(2877.5,267.75),(3467.5,267.75),(3467.5,-360.25)],
  [(3400,-399.95),(3400,-399.75),(3471.5,-399.75),(3471.5,271.75),(2873.5,271.75),(2873.5,-24.75),(2900,-24.75),(2900,-24.95),(2873.3,-24.95),(2873.3,271.95),(3471.7,271.95),(3471.7,-399.95)],
  [(3400,-400.25),(3400,-400.05),(3471.8,-400.05),(3471.8,272.05),(2873.2,272.05),(2873.2,-25.05),(2900,-25.05),(2900,-25.25),(2873,-25.25),(2873,272.25),(3472,272.25),(3472,-400.25)],
  [(3400,-439.95),(3400,-439.75),(3476,-439.75),(3476,276.25),(2869,276.25),(2869,-39.75),(2900,-39.75),(2900,-39.95),(2868.8,-39.95),(2868.8,276.45),(3476.2,276.45),(3476.2,-439.95)],
  [(3400,-440.25),(3400,-440.05),(3476.3,-440.05),(3476.3,276.55),(2868.7,276.55),(2868.7,-40.05),(2900,-40.05),(2900,-40.25),(2868.5,-40.25),(2868.5,276.75),(3476.5,276.75),(3476.5,-440.25)],
  [(3400,-479.95),(3400,-479.75),(3480.5,-479.75),(3480.5,280.75),(2864.5,280.75),(2864.5,-54.75),(2900,-54.75),(2900,-54.95),(2864.3,-54.95),(2864.3,280.95),(3480.7,280.95),(3480.7,-479.95)],
  [(3400,-480.25),(3400,-480.05),(3480.8,-480.05),(3480.8,281.05),(2864.2,281.05),(2864.2,-55.05),(2900,-55.05),(2900,-55.25),(2864,-55.25),(2864,281.25),(3481,281.25),(3481,-480.25)],
  [(3400,-519.95),(3400,-519.75),(3485,-519.75),(3485,285.25),(2860,285.25),(2860,-69.75),(2900,-69.75),(2900,-69.95),(2859.8,-69.95),(2859.8,285.45),(3485.2,285.45),(3485.2,-519.95)],
  [(3400,-520.25),(3400,-520.05),(3485.3,-520.05),(3485.3,285.55),(2859.7,285.55),(2859.7,-70.05),(2900,-70.05),(2900,-70.25),(2859.5,-70.25),(2859.5,285.75),(3485.5,285.75),(3485.5,-520.25)],
  [(3400,-559.95),(3400,-559.75),(3489.5,-559.75),(3489.5,289.75),(2855.5,289.75),(2855.5,-84.75),(2900,-84.75),(2900,-84.95),(2855.3,-84.95),(2855.3,289.95),(3489.7,289.95),(3489.7,-559.95)],
  [(3400,-560.25),(3400,-560.05),(3489.8,-560.05),(3489.8,290.05),(2855.2,290.05),(2855.2,-85.05),(2900,-85.05),(2900,-85.25),(2855,-85.25),(2855,290.25),(3490,290.25),(3490,-560.25)])
R(test_smart_routing_start, FLOORPLAN, [(2900,-100,3085,50), (-85,-50,100,100), (2950,2900,3100,3085), (-100,2915,50,3100)])
P(test_smart_routing_start, FLOORPLAN, [(-400,-200),(-400,560),(-400,560),(-400,-200)],
  [(-560,2600),(-560,2600),(200,2600),(200,2600)],
  [(3400,-560),(3400,200),(3400,200),(3400,-560)],
  [(2800,3400),(2800,3400),(3560,3400),(3560,3400)])

lib.write_gds('test_smart_routing_start_bboxFalse_sort_portsTrue_indirectTrue_start_angle0m2False_m1False_zTrue_p1True_p2False.gds')
